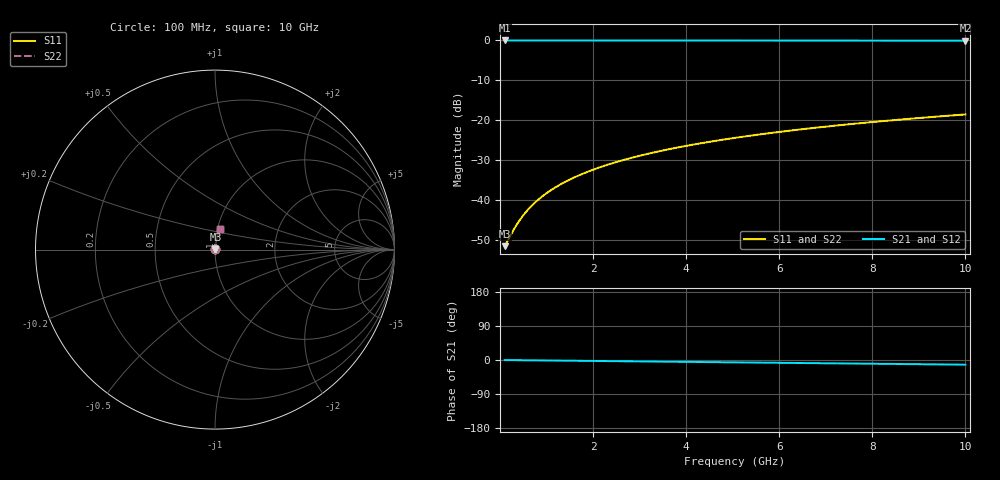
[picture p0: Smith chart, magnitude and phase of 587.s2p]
# Hz S RI R 50.00
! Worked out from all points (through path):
!   100 points, 100 MHz to 10 GHz, reference 50 ohm
!   highest |S21| = -0.02 dB at 100 MHz (marker M1); lowest = -0.1 dB at 10 GHz (marker M2)
!   group delay of S21, straight-line fit = 3.42 ps
!   lowest |S11| = -51.6 dB at 100 MHz (marker M3), VSWR 1.01, Z = 50.2 + j0.119 ohm
!   |S11| at or under -10 dB: start of sweep to end of sweep
!   |S22| runs from -51.6 to -18.6 dB; largest |S21 - S12| = 0
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1e8  0.00235 0.00118  0.9976 -0.00215  0.9976 -0.00215  0.00235 0.00118
3e8  0.0024 0.00355  0.9976 -0.00644  0.9976 -0.00644  0.0024 0.00355
4e8  0.00242 0.00474  0.9976 -0.00858  0.9976 -0.00858  0.00242 0.00474
5e8  0.00246 0.00592  0.9975 -0.0107  0.9975 -0.0107  0.00246 0.00592
6e8  0.00249 0.00711  0.9975 -0.0129  0.9975 -0.0129  0.00249 0.00711
7e8  0.00253 0.00829  0.9974 -0.015  0.9974 -0.015  0.00253 0.00829
8e8  0.00257 0.00947  0.9974 -0.0172  0.9974 -0.0172  0.00257 0.00947
1e9  0.00267 0.0118  0.9973 -0.0214  0.9973 -0.0214  0.00267 0.0118
1.2e9  0.00279 0.0142  0.9971 -0.0257  0.9971 -0.0257  0.00279 0.0142
1.5e9  0.00301 0.0178  0.9969 -0.0322  0.9969 -0.0322  0.00301 0.0178
1.8e9  0.00327 0.0213  0.9966 -0.0386  0.9966 -0.0386  0.00327 0.0213
2.1e9  0.00358 0.0248  0.9962 -0.045  0.9962 -0.045  0.00358 0.0248
2.5e9  0.00406 0.0295  0.9956 -0.0536  0.9956 -0.0536  0.00406 0.0295
2.9e9  0.00462 0.0342  0.995 -0.0621  0.995 -0.0621  0.00462 0.0342
3.4e9  0.00543 0.0401  0.994 -0.0728  0.994 -0.0728  0.00543 0.0401
4.2e9  0.00699 0.0494  0.9922 -0.0899  0.9922 -0.0899  0.00699 0.0494
5.1e9  0.00912 0.0599  0.9896 -0.109  0.9896 -0.109  0.00912 0.0599
5.9e9  0.0114 0.0691  0.987 -0.1259  0.987 -0.1259  0.0114 0.0691
6.7e9  0.0139 0.0782  0.9839 -0.1427  0.9839 -0.1427  0.0139 0.0782
7.5e9  0.0168 0.0872  0.9806 -0.1595  0.9806 -0.1595  0.0168 0.0872
8.4e9  0.0203 0.0972  0.9763 -0.1782  0.9763 -0.1782  0.0203 0.0972
1e10  0.0276 0.1146  0.9676 -0.2111  0.9676 -0.2111  0.0276 0.1146
